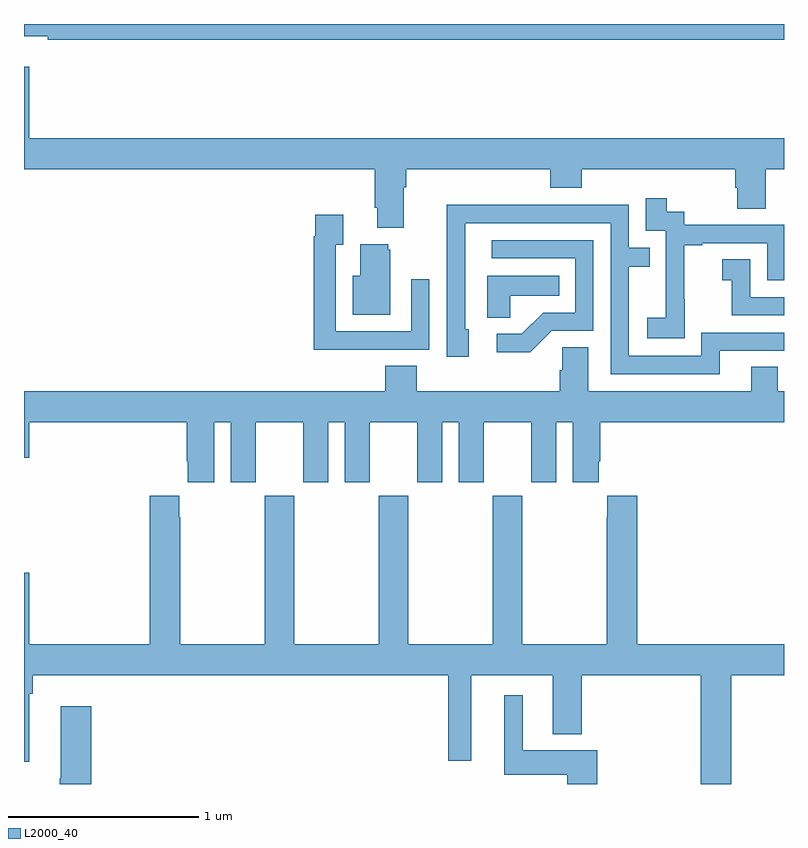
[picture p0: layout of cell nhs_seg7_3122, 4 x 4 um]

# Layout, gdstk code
import gdstk
lib = gdstk.Library(unit=1e-6, precision=1e-09)
def P(c, l, *ps):  # polygons
    for p in ps: c.add(gdstk.Polygon(p, *l))
L2000_40 = (2000, 40)

nhs_seg7_3122 = lib.new_cell('nhs_seg7_3122')
P(nhs_seg7_3122, L2000_40, [(313,1048),(309,1048),(309,1047.935),(309.124,1047.935),(309.124,1047.916),(313,1047.916)],
  [(310.999,1047.14),(311.012,1047.14),(311.012,1047.236),(311.771,1047.236),(311.771,1047.137),(311.936,1047.137),(311.936,1047.236),(312.743,1047.236),(312.743,1047.138),(312.755,1047.138),(312.755,1047.028),(312.903,1047.028),(312.903,1047.236),(313,1047.236),(313,1047.4),(309.028,1047.4),(309.028,1047.775),(309,1047.775),(309,1047.236),(310.847,1047.236),(310.847,1047.034),(310.859,1047.034),(310.859,1046.927),(310.999,1046.927)],
  [(312.477,1046.551),(312.476,1046.551),(312.476,1046.835),(312.571,1046.835),(312.571,1046.847),(312.912,1046.847),(312.912,1046.652),(313,1046.652),(313,1046.943),(312.474,1046.943),(312.474,1047.012),(312.382,1047.012),(312.382,1047.082),(312.273,1047.082),(312.273,1046.913),(312.378,1046.913),(312.378,1046.684),(312.377,1046.684),(312.377,1046.455),(312.279,1046.455),(312.279,1046.345),(312.477,1046.345)],
  [(312.661,1046.28),(313,1046.28),(313,1046.376),(312.564,1046.376),(312.564,1046.253),(312.183,1046.253),(312.183,1046.722),(312.293,1046.722),(312.293,1046.823),(312.183,1046.823),(312.183,1047.048),(311.687,1047.048),(311.687,1047.05),(311.224,1047.05),(311.224,1046.743),(311.226,1046.743),(311.226,1046.25),(311.341,1046.25),(311.341,1046.394),(311.322,1046.394),(311.322,1046.952),(312.087,1046.952),(312.087,1046.157),(312.661,1046.157)],
  [(310.817,1046.286),(311.133,1046.286),(311.133,1046.656),(311.037,1046.656),(311.037,1046.382),(310.641,1046.382),(310.641,1046.839),(310.681,1046.839),(310.681,1046.995),(310.533,1046.995),(310.533,1046.882),(310.525,1046.882),(310.525,1046.285),(310.817,1046.285)],
  [(311.778,1046.385),(311.997,1046.385),(311.997,1046.862),(311.463,1046.862),(311.463,1046.766),(311.901,1046.766),(311.901,1046.481),(311.732,1046.481),(311.621,1046.37),(311.487,1046.37),(311.487,1046.273),(311.665,1046.273)],
  [(310.927,1046.811),(310.916,1046.811),(310.916,1046.842),(310.769,1046.842),(310.769,1046.674),(310.73,1046.674),(310.73,1046.471),(310.927,1046.471)],
  [(313,1046.562),(312.822,1046.562),(312.822,1046.761),(312.675,1046.761),(312.675,1046.651),(312.724,1046.651),(312.724,1046.466),(313,1046.466)],
  [(311.559,1046.57),(311.816,1046.57),(311.816,1046.674),(311.438,1046.674),(311.438,1046.455),(311.559,1046.455)],
  [(310,1045.904),(310.088,1045.904),(310.088,1045.587),(310.219,1045.587),(310.219,1045.904),(310.469,1045.904),(310.469,1045.587),(310.6,1045.587),(310.6,1045.904),(310.688,1045.904),(310.688,1045.587),(310.819,1045.587),(310.819,1045.904),(311.069,1045.904),(311.069,1045.587),(311.2,1045.587),(311.2,1045.904),(311.288,1045.904),(311.288,1045.587),(311.419,1045.587),(311.419,1045.904),(311.669,1045.904),(311.669,1045.587),(311.8,1045.587),(311.8,1045.904),(311.888,1045.904),(311.888,1045.587),(312.025,1045.587),(312.025,1045.699),(312.032,1045.699),(312.032,1045.904),(313,1045.904),(313,1046.068),(312.966,1046.068),(312.966,1046.195),(312.827,1046.195),(312.827,1046.068),(311.971,1046.068),(311.971,1046.3),(311.832,1046.3),(311.832,1046.177),(311.819,1046.177),(311.819,1046.068),(311.066,1046.068),(311.066,1046.201),(310.901,1046.201),(310.901,1046.068),(309,1046.068),(309,1045.716),(309.028,1045.716),(309.028,1045.904),(309.857,1045.904),(309.857,1045.699),(309.863,1045.699),(309.863,1045.587),(310,1045.587)],
  [(311.022,1045.516),(310.867,1045.516),(310.867,1044.736),(310.422,1044.736),(310.422,1045.516),(310.267,1045.516),(310.267,1044.736),(309.822,1044.736),(309.822,1045.403),(309.817,1045.403),(309.817,1045.516),(309.662,1045.516),(309.662,1044.736),(309.028,1044.736),(309.028,1045.111),(309,1045.111),(309,1044.117),(309.028,1044.117),(309.028,1044.476),(309.047,1044.476),(309.047,1044.572),(311.232,1044.572),(311.232,1044.123),(311.353,1044.123),(311.353,1044.572),(311.783,1044.572),(311.783,1044.263),(311.936,1044.263),(311.936,1044.572),(312.563,1044.572),(312.563,1044),(312.723,1044),(312.723,1044.572),(313,1044.572),(313,1044.736),(312.227,1044.736),(312.227,1045.516),(312.071,1045.516),(312.071,1045.403),(312.067,1045.403),(312.067,1044.736),(311.622,1044.736),(311.622,1045.516),(311.467,1045.516),(311.467,1044.736),(311.022,1044.736)],
  [(312.017,1044.178),(311.626,1044.178),(311.626,1044.466),(311.528,1044.466),(311.528,1044.05),(311.858,1044.05),(311.858,1044),(312.017,1044)],
  [(309.353,1044.409),(309.194,1044.409),(309.194,1044.029),(309.187,1044.029),(309.187,1044),(309.353,1044)])

lib.write_gds('nhs_seg7_3122.gds')
